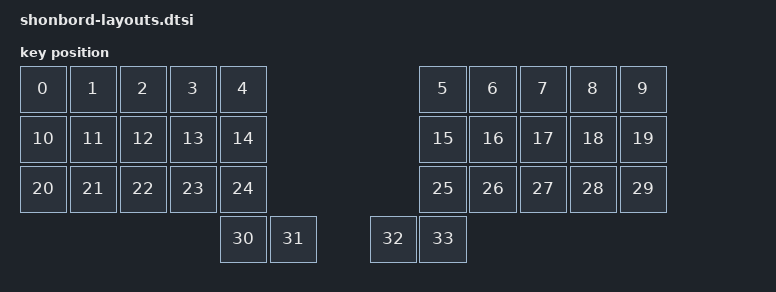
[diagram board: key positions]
#include <physical_layouts.dtsi>

/ {
    physical_layout_shonbord: physical_layout_shonbord {
        compatible = "zmk,physical-layout";
        display-name = "shonbord";
        keys  //                     w   h    x    y     rot    rx    ry
            = <&key_physical_attrs 100 100    0    0       0     0     0>
            , <&key_physical_attrs 100 100  100    0       0   100     0>
            , <&key_physical_attrs 100 100  200    0       0   200     0>
            , <&key_physical_attrs 100 100  300    0       0   300     0>
            , <&key_physical_attrs 100 100  400    0       0   400     0>
            , <&key_physical_attrs 100 100  800    0       0   800     0>
            , <&key_physical_attrs 100 100  900    0       0   900     0>
            , <&key_physical_attrs 100 100 1000    0       0  1000     0>
            , <&key_physical_attrs 100 100 1100    0       0  1100     0>
            , <&key_physical_attrs 100 100 1200    0       0  1200     0>
            , <&key_physical_attrs 100 100    0  100       0     0   100>
            , <&key_physical_attrs 100 100  100  100       0   100   100>
            , <&key_physical_attrs 100 100  200  100       0   200   100>
            , <&key_physical_attrs 100 100  300  100       0   300   100>
            , <&key_physical_attrs 100 100  400  100       0   400   100>
            , <&key_physical_attrs 100 100  800  100       0   800   100>
            , <&key_physical_attrs 100 100  900  100       0   900   100>
            , <&key_physical_attrs 100 100 1000  100       0  1000   100>
            , <&key_physical_attrs 100 100 1100  100       0  1100   100>
            , <&key_physical_attrs 100 100 1200  100       0  1200   100>
            , <&key_physical_attrs 100 100    0  200       0     0   200>
            , <&key_physical_attrs 100 100  100  200       0   100   200>
            , <&key_physical_attrs 100 100  200  200       0   200   200>
            , <&key_physical_attrs 100 100  300  200       0   300   200>
            , <&key_physical_attrs 100 100  400  200       0   400   200>
            , <&key_physical_attrs 100 100  800  200       0   800   200>
            , <&key_physical_attrs 100 100  900  200       0   900   200>
            , <&key_physical_attrs 100 100 1000  200       0  1000   200>
            , <&key_physical_attrs 100 100 1100  200       0  1100   200>
            , <&key_physical_attrs 100 100 1200  200       0  1200   200>
            , <&key_physical_attrs 100 100  400  300       0   400   300>
            , <&key_physical_attrs 100 100  500  300       0   878   168>
            , <&key_physical_attrs 100 100  700  300       0   700   300>
            , <&key_physical_attrs 100 100  800  300       0   800   300>
            ;
    };
};
